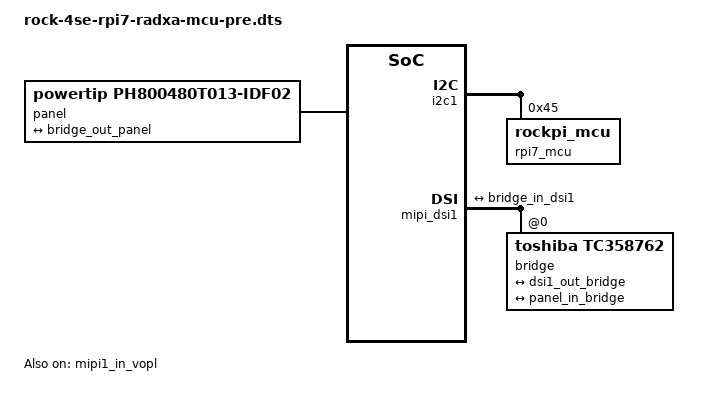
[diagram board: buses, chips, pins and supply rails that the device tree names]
// SPDX-License-Identifier: (GPL-2.0+ OR MIT)
/*
 * Raspberry Pi 7" / DFR0678 touchscreen on the Radxa ROCK 4SE, Radxa-style,
 * variant: MCU power-up and bridge programming in bridge pre_enable.
 *
 * Identical to rock-4se-rpi7-radxa-mcu, except that the DSI host is still in
 * command mode (no HS clock, no video) while the MCU is power-cycled and the
 * bridge is programmed, as the legacy Raspberry Pi panel driver did. Try this
 * if the default variant leaves the screen blank.
 *
 * Needs the kernel patches rk3399-dsi1-dsi0-pll, dsi-lane-rate-override,
 * dfr0678-radxa-timing and tc358762-rpi7-radxa-bringup, and no other overlay
 * touching I2C1 address 0x45.
 */

/dts-v1/;
/plugin/;

&{/} {
	panel {
		compatible = "powertip,ph800480t013-idf02";

		port {
			panel_in_bridge: endpoint {
				remote-endpoint = <&bridge_out_panel>;
			};
		};
	};
};

&i2c1 {
	#address-cells = <1>;
	#size-cells = <0>;
	status = "okay";

	rpi7_mcu: mcu@45 {
		compatible = "rockpi_mcu";
		reg = <0x45>;
	};
};

&mipi1_in_vopb {
	status = "disabled";
};

&mipi1_in_vopl {
	status = "okay";
};

&mipi_dsi1 {
	#address-cells = <1>;
	#size-cells = <0>;
	status = "okay";

	/* DSI0 supplies the shared PHY PLL while staying disabled */
	rockchip,dsi-dsi0 = <&mipi_dsi>;
	rockchip,lane-rate = <696>;

	bridge@0 {
		compatible = "toshiba,tc358762";
		reg = <0>;

		toshiba,radxa-rpi7-init;
		toshiba,radxa-mcu = <&rpi7_mcu>;
		toshiba,debug-readback;
		toshiba,init-in-pre-enable;

		ports {
			#address-cells = <1>;
			#size-cells = <0>;

			port@0 {
				reg = <0>;

				bridge_in_dsi1: endpoint {
					remote-endpoint = <&dsi1_out_bridge>;
				};
			};

			port@1 {
				reg = <1>;

				bridge_out_panel: endpoint {
					remote-endpoint = <&panel_in_bridge>;
				};
			};
		};
	};

	ports {
		#address-cells = <1>;
		#size-cells = <0>;

		port@1 {
			reg = <1>;

			dsi1_out_bridge: endpoint {
				remote-endpoint = <&bridge_in_dsi1>;
			};
		};
	};
};
